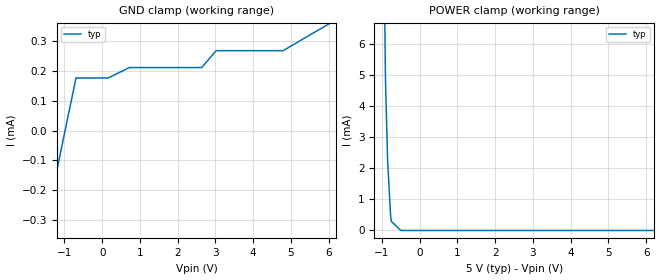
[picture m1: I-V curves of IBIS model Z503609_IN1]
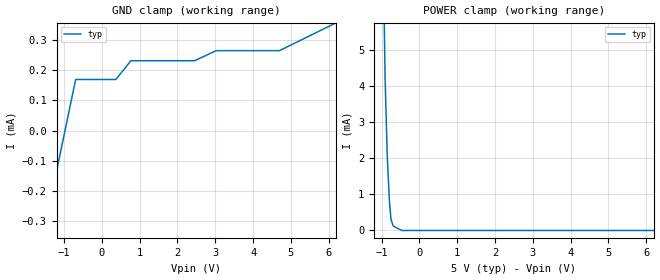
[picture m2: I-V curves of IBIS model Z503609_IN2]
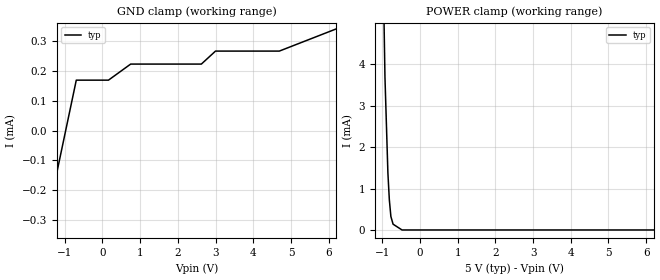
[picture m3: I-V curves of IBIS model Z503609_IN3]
| YOU ARE ONLY AUTHORIZED TO USE THIS SOFTWARE
| ACCORDING TO LICENSOR'S LICENSE RESTRICTIONS.
[IBIS Ver] 3.1
[File Name] mc14506ubl.ibs
[File Rev] 2.0
[Source] Measured and created by ICX Technology
[Date] Friday 7/14/00 9:07:55 AM
[Copyright]
| (C) COPYRIGHT 1993-2000
| MENTOR GRAPHICS CORPORATION
| ICX STANDARD LIBRARY, ICX PROJECT MODELING,
| ICX CUSTOM MODELING, ICX VENDOR MODEL
| ALL RIGHTS RESERVED.
| THE FOLLOWING ARE TRADEMARKS OR SERVICE MARKS OF
| MENTOR GRAPHICS CORPORATION:ICX (R), ICX STANDARD
| LIBRARY(R), ICX PROJECT MODELING(R), ICX CUSTOM
| MODELING(R), qualityIBIS(TM), MODELVIEWER(TM),
| AND MODELEDITOR(TM)
| ALL COPIES OF SOFTWARE, INCLUDING BUT NOT LIMITED TO
| ANY MODIFICATIONS, ENHANCEMENTS OR DERIVATIVE WORKS,
| MUST CONTAIN ALL MENTOR GRAPHICS CORPORATION'S
| NOTICES AND LEGENDS, INCLUDING THOSE EMBEDDED IN
| SOFTWARE AND THOSE AFFIXED TO SOFTWARE MEDIUM
| AND CONTAINER, AS RECEIVED FROM MENTOR GRAPHICS
| CORPORATION.
|  ZAP Model Builder 2.7
[Component] MC14506UBL
[Manufacturer] OnSemiconductor
[Package]
| variable   typ   min   max
R_pkg  .212ohms NA NA
L_pkg  4.758nH NA NA
C_pkg  1.944pF NA NA
[Pin] signal_name  model_name  R_pin  L_pin C_pin
1 AA Z503609_IN1 .224 7.258n 2.683p
2 BA Z503609_IN1 .216 5.258n 2.19p
3 CA Z503609_IN1 .208 3.758n 1.697p
4 DA Z503609_IN1 .2 2.758n 1.204p
5 EA Z503609_IN2 .2 2.758n 1.204p
6 INH Z503609_IN3 .208 3.758n 1.697p
7 ZB Z503609_OUT4 .216 5.258n 2.19p
8 VSS GND .224 7.258n 2.683p
9 AB Z503609_IN1 .224 7.258n 2.683p
10 BB Z503609_IN1 .216 5.258n 2.19p
11 CB Z503609_IN1 .208 3.758n 1.697p
12 DB Z503609_IN1 .2 2.758n 1.204p
13 EB Z503609_IN2 .2 2.758n 1.204p
14 DISABLE Z503609_IN5 .208 3.758n 1.697p
15 ZA Z503609_OUT4 .216 5.258n 2.19p
16 VDD POWER .224 7.258n 2.683p
| Models and submodels in the file (5): Z503609_IN1 (Input), Z503609_IN2 (Input), Z503609_IN3 (Input), Z503609_IN5 (Input), Z503609_OUT4 (Output)
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| (C) COPYRIGHT 1993-2000
| MENTOR GRAPHICS CORPORATION
| ICX STANDARD LIBRARY, ICX PROJECT MODELING,
| ICX CUSTOM MODELING, ICX VENDOR MODEL
| ALL RIGHTS RESERVED.
| THE FOLLOWING ARE TRADEMARKS OR SERVICE MARKS OF
| MENTOR GRAPHICS CORPORATION:ICX (R), ICX STANDARD
| LIBRARY(R), ICX PROJECT MODELING(R), ICX CUSTOM
| MODELING(R), qualityIBIS(TM), MODELVIEWER(TM),
| AND MODELEDITOR(TM)
| ALL COPIES OF SOFTWARE, INCLUDING BUT NOT LIMITED TO
| ANY MODIFICATIONS, ENHANCEMENTS OR DERIVATIVE WORKS,
| MUST CONTAIN ALL MENTOR GRAPHICS CORPORATION'S
| NOTICES AND LEGENDS, INCLUDING THOSE EMBEDDED IN
| SOFTWARE AND THOSE AFFIXED TO SOFTWARE MEDIUM
| AND CONTAINER, AS RECEIVED FROM MENTOR GRAPHICS
| CORPORATION.
| Model Application Version 1.89 2/18/99.
[Model] Z503609_IN1
Model_type Input
Vinl = 1.500V
Vinh = 3.500V
C_comp 4.000pF NA NA
| variable typ   min   max
[Voltage Range] 5.000V NA NA
[GND Clamp Reference] 0.000V NA NA
[POWER Clamp Reference] 5.000V NA NA
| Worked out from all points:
|   POWER clamp passes 1 mA (typ) near -0.79 V on its own axis
[GND Clamp]
-5V       -2.45mA    NA         NA
-694mV    176uA      NA         NA
156.3mV   176uA      NA         NA
722.9mV   210.7uA    NA         NA
2.635V    210.7uA    NA         NA
3.018V    267.2uA    NA         NA
4.791V    267.2uA    NA         NA
10V       651.5uA    NA         NA
[POWER Clamp]
-5V       1.002A     NA         NA
-1.216V   52.72mA    NA         NA
-1.035V   18.39mA    NA         NA
-908mV    4.959mA    NA         NA
-850mV    2.241mA    NA         NA
-771mV    479.8uA    NA         NA
-752mV    295.7uA    NA         NA
-501.3mV  0A         NA         NA
10V       0A         NA         NA
| (C) COPYRIGHT 1993-2000
| MENTOR GRAPHICS CORPORATION
| ICX STANDARD LIBRARY, ICX PROJECT MODELING,
| ICX CUSTOM MODELING, ICX VENDOR MODEL
| ALL RIGHTS RESERVED.
| THE FOLLOWING ARE TRADEMARKS OR SERVICE MARKS OF
| MENTOR GRAPHICS CORPORATION:ICX (R), ICX STANDARD
| LIBRARY(R), ICX PROJECT MODELING(R), ICX CUSTOM
| MODELING(R), qualityIBIS(TM), MODELVIEWER(TM),
| AND MODELEDITOR(TM)
| ALL COPIES OF SOFTWARE, INCLUDING BUT NOT LIMITED TO
| ANY MODIFICATIONS, ENHANCEMENTS OR DERIVATIVE WORKS,
| MUST CONTAIN ALL MENTOR GRAPHICS CORPORATION'S
| NOTICES AND LEGENDS, INCLUDING THOSE EMBEDDED IN
| SOFTWARE AND THOSE AFFIXED TO SOFTWARE MEDIUM
| AND CONTAINER, AS RECEIVED FROM MENTOR GRAPHICS
| CORPORATION.
| Model Application Version 1.89 2/18/99.
[Model] Z503609_IN2
Model_type Input
Vinl = 1.500V
Vinh = 3.500V
C_comp 4.000pF NA NA
| variable typ   min   max
[Voltage Range] 5.000V NA NA
[GND Clamp Reference] 0.000V NA NA
[POWER Clamp Reference] 5.000V NA NA
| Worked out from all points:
|   POWER clamp passes 1 mA (typ) near -0.80 V on its own axis
[GND Clamp]
-5V       -2.412mA   NA         NA
-694mV    168.7uA    NA         NA
368.6mV   168.7uA    NA         NA
767.8mV   230.7uA    NA         NA
2.455V    230.7uA    NA         NA
3.018V    263.8uA    NA         NA
4.695V    263.8uA    NA         NA
10V       589.3uA    NA         NA
[POWER Clamp]
-5V       582.6mA    NA         NA
-1.2V     31.68mA    NA         NA
-1.039V   13.69mA    NA         NA
-908mV    4.251mA    NA         NA
-850mV    2.053mA    NA         NA
-792mV    787.9uA    NA         NA
-752mV    318.3uA    NA         NA
-693mV    121.6uA    NA         NA
-462mV    0A         NA         NA
10V       0A         NA         NA
| (C) COPYRIGHT 1993-2000
| MENTOR GRAPHICS CORPORATION
| ICX STANDARD LIBRARY, ICX PROJECT MODELING,
| ICX CUSTOM MODELING, ICX VENDOR MODEL
| ALL RIGHTS RESERVED.
| THE FOLLOWING ARE TRADEMARKS OR SERVICE MARKS OF
| MENTOR GRAPHICS CORPORATION:ICX (R), ICX STANDARD
| LIBRARY(R), ICX PROJECT MODELING(R), ICX CUSTOM
| MODELING(R), qualityIBIS(TM), MODELVIEWER(TM),
| AND MODELEDITOR(TM)
| ALL COPIES OF SOFTWARE, INCLUDING BUT NOT LIMITED TO
| ANY MODIFICATIONS, ENHANCEMENTS OR DERIVATIVE WORKS,
| MUST CONTAIN ALL MENTOR GRAPHICS CORPORATION'S
| NOTICES AND LEGENDS, INCLUDING THOSE EMBEDDED IN
| SOFTWARE AND THOSE AFFIXED TO SOFTWARE MEDIUM
| AND CONTAINER, AS RECEIVED FROM MENTOR GRAPHICS
| CORPORATION.
| Model Application Version 1.89 2/18/99.
[Model] Z503609_IN3
Model_type Input
Vinl = 1.500V
Vinh = 3.500V
C_comp 4.000pF NA NA
| variable typ   min   max
[Voltage Range] 5.000V NA NA
[GND Clamp Reference] 0.000V NA NA
[POWER Clamp Reference] 5.000V NA NA
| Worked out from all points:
|   POWER clamp passes 1 mA (typ) near -0.83 V on its own axis
[GND Clamp]
-5V       -2.41mA    NA         NA
-694mV    168.3uA    NA         NA
159.3mV   168.3uA    NA         NA
748.2mV   222uA      NA         NA
2.623V    222uA      NA         NA
2.998V    265.4uA    NA         NA
4.69V     265.4uA    NA         NA
10V       526.2uA    NA         NA
[POWER Clamp]
-5V       410.2mA    NA         NA
-1.191V   21.52mA    NA         NA
-1.043V   9.988mA    NA         NA
-928mV    3.697mA    NA         NA
-850mV    1.38mA     NA         NA
-812mV    731.5uA    NA         NA
-771mV    327.3uA    NA         NA
-713mV    139.8uA    NA         NA
-475.3mV  0A         NA         NA
10V       0A         NA         NA
